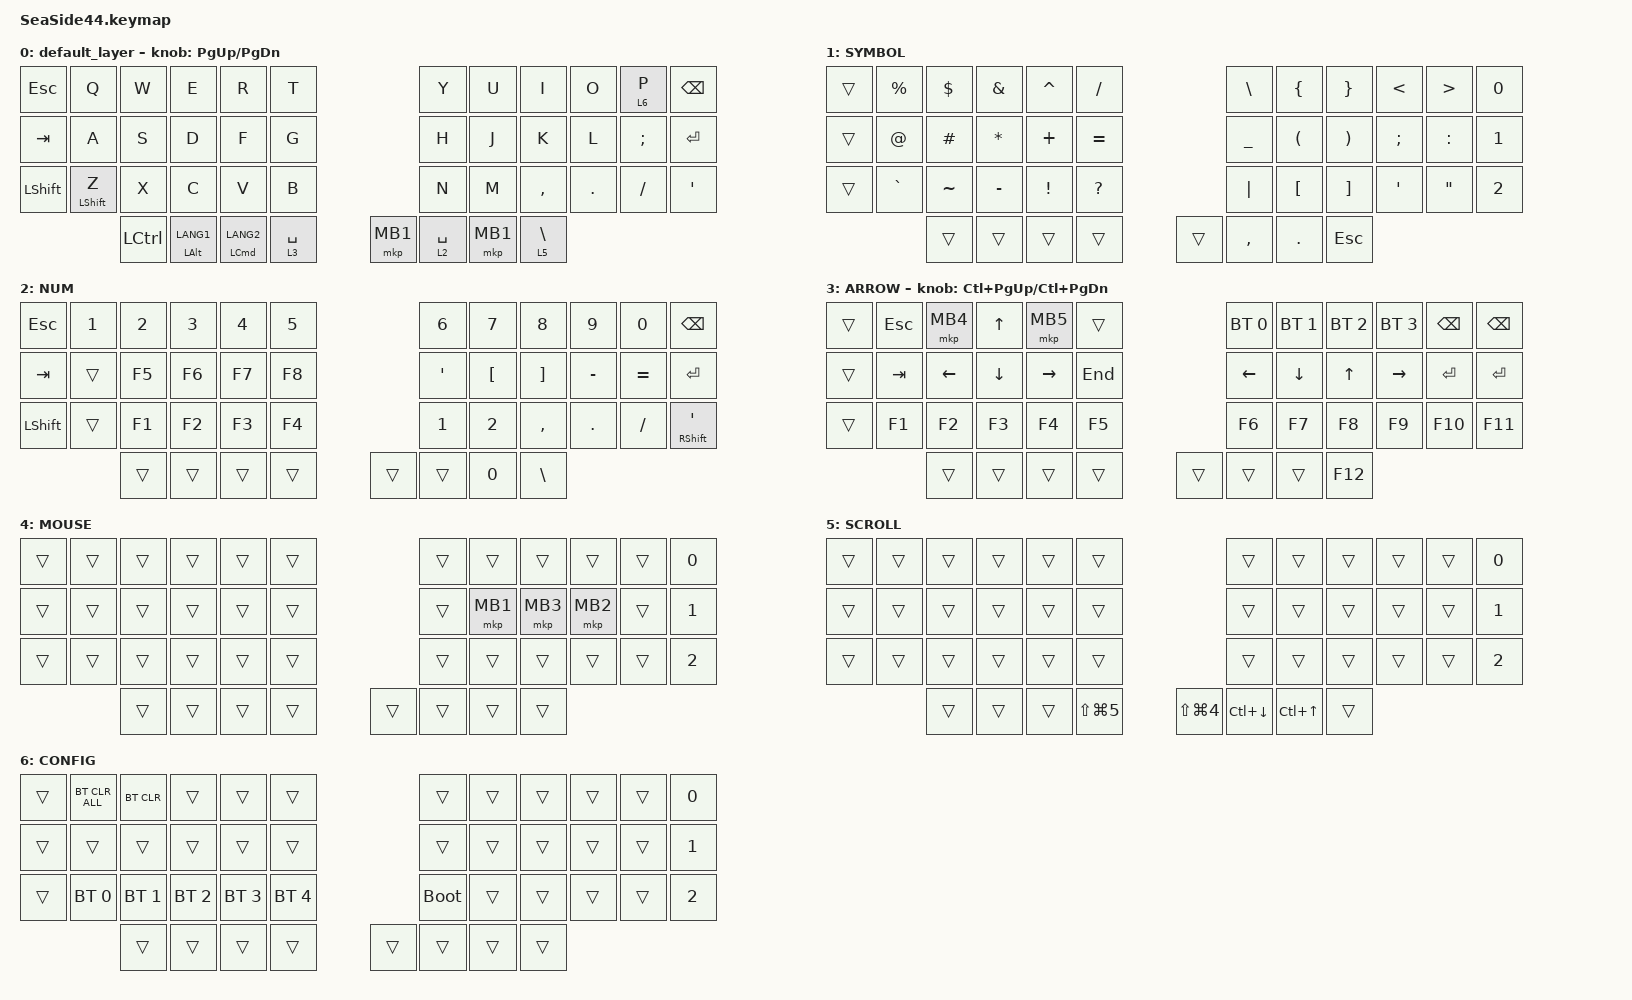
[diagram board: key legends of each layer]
#include <behaviors.dtsi>
#include <dt-bindings/zmk/bt.h>
#include <dt-bindings/zmk/keys.h>
#include <dt-bindings/zmk/pointing.h>

#define MOUSE 4
#define SCROLL 5
#define NUM 6

&mt {
    flavor = "balanced";
    quick-tap-ms = <300>;
};

&lt {
    flavor = "balanced";
    quick-tap-ms = <300>;
};

/ {
    combos { compatible = "zmk,combos"; };

    macros {
        to_layer_0: to_layer_0 {
            compatible = "zmk,behavior-macro-one-param";
            #binding-cells = <1>;
            bindings = <&to 0 &macro_param_1to1 &kp MACRO_PLACEHOLDER>;
            label = "TO_LAYER_0";
        };
    };

    behaviors {
        lt_to_layer_0: lt_to_layer_0 {
            compatible = "zmk,behavior-hold-tap";
            label = "LAYER_TAP_TO_0";
            bindings = <&mo>, <&to_layer_0>;

            #binding-cells = <2>;
            tapping-term-ms = <200>;
        };
    };

    keymap {
        compatible = "zmk,keymap";

        default_layer {
            bindings = <
&kp ESCAPE  &kp Q             &kp W      &kp E               &kp R                   &kp T                                 &kp Y     &kp U  &kp I            &kp O       &lt 6 P        &kp BACKSPACE
&kp TAB     &kp A             &kp S      &kp D               &kp F                   &kp G                                 &kp H     &kp J  &kp K            &kp L       &kp SEMICOLON  &kp ENTER
&kp LSHFT   &mt LEFT_SHIFT Z  &kp X      &kp C               &kp V                   &kp B                                 &kp N     &kp M  &kp COMMA        &kp PERIOD  &kp SLASH      &kp SQT
                              &kp LCTRL  &mt LEFT_ALT LANG1  &mt LEFT_COMMAND LANG2  &lt 3 SPACE  &mkp MB1    &lt 2 SPACE  &mkp MB1         &lt 5 BACKSLASH
            >;

            sensor-bindings = <&inc_dec_kp PG_UP PAGE_DOWN>;
        };

        SYMBOL {
            bindings = <
&trans  &kp PRCNT  &kp DOLLAR  &kp AMPERSAND  &kp CARET        &kp FSLH                           &kp BSLH        &kp LEFT_BRACE        &kp RIGHT_BRACE        &kp LESS_THAN  &kp GREATER_THAN   &kp N0
&trans  &kp AT     &kp HASH    &kp ASTERISK   &kp PLUS         &kp EQUAL                          &kp UNDERSCORE  &kp LEFT_PARENTHESIS  &kp RIGHT_PARENTHESIS  &kp SEMI       &kp COLON          &kp N1
&trans  &kp GRAVE  &kp TILDE   &kp MINUS      &kp EXCLAMATION  &kp QUESTION                       &kp PIPE        &kp LBKT              &kp RBKT               &kp SQT        &kp DOUBLE_QUOTES  &kp N2
                   &trans      &trans         &trans           &trans        &trans    &kp COMMA  &kp PERIOD                            &kp ESC
            >;
        };

        NUM {
            bindings = <
&kp ESCAPE      &kp NUMBER_1  &kp NUMBER_2  &kp NUMBER_3  &kp NUMBER_4  &kp N5                    &kp NUMBER_6  &kp N7            &kp N8             &kp N9      &kp N0     &kp BACKSPACE
&kp TAB         &trans        &kp F5        &kp F6        &kp F7        &kp F8                    &kp SQT       &kp LEFT_BRACKET  &kp RIGHT_BRACKET  &kp MINUS   &kp EQUAL  &kp RETURN
&kp LEFT_SHIFT  &trans        &kp F1        &kp F2        &kp F3        &kp F4                    &kp NUMBER_1  &kp NUMBER_2      &kp COMMA          &kp PERIOD  &kp SLASH  &mt RIGHT_SHIFT SQT
                              &trans        &trans        &trans        &trans  &trans    &trans  &kp NUMBER_0                    &kp BACKSLASH
            >;
        };

        ARROW {
            bindings = <
&trans  &kp ESCAPE  &mkp MB4        &kp UP_ARROW    &mkp MB5         &trans                     &bt BT_SEL 0  &bt BT_SEL 1  &bt BT_SEL 2  &bt BT_SEL 3     &kp BACKSPACE  &kp BACKSPACE
&trans  &kp TAB     &kp LEFT_ARROW  &kp DOWN_ARROW  &kp RIGHT_ARROW  &kp END                    &kp LEFT      &kp DOWN      &kp UP_ARROW  &kp RIGHT_ARROW  &kp RETURN     &kp RET
&trans  &kp F1      &kp F2          &kp F3          &kp F4           &kp F5                     &kp F6        &kp F7        &kp F8        &kp F9           &kp F10        &kp F11
                    &trans          &trans          &trans           &trans   &trans    &trans  &trans                      &kp F12
            >;

            sensor-bindings = <&inc_dec_kp LC(PAGE_UP) LC(PAGE_DOWN)>;
        };

        MOUSE {
            bindings = <
&trans  &trans  &trans  &trans  &trans  &trans                    &trans  &trans    &trans    &trans    &trans  &kp N0
&trans  &trans  &trans  &trans  &trans  &trans                    &trans  &mkp MB1  &mkp MB3  &mkp MB2  &trans  &kp N1
&trans  &trans  &trans  &trans  &trans  &trans                    &trans  &trans    &trans    &trans    &trans  &kp N2
                &trans  &trans  &trans  &trans  &trans    &trans  &trans            &trans
            >;
        };

        SCROLL {
            bindings = <
&trans  &trans  &trans  &trans  &trans  &trans                                          &trans            &trans  &trans  &trans  &trans  &kp N0
&trans  &trans  &trans  &trans  &trans  &trans                                          &trans            &trans  &trans  &trans  &trans  &kp N1
&trans  &trans  &trans  &trans  &trans  &trans                                          &trans            &trans  &trans  &trans  &trans  &kp N2
                &trans  &trans  &trans  &kp LS(LG(N5))  &kp LS(LG(N4))    &kp LC(DOWN)  &kp LC(UP_ARROW)          &trans
            >;
        };

        CONFIG {
            bindings = <
&trans  &bt BT_CLR_ALL  &bt BT_CLR    &trans        &trans        &trans                          &trans       &trans  &trans  &trans  &trans  &kp N0
&trans  &trans          &trans        &trans        &trans        &trans                          &trans       &trans  &trans  &trans  &trans  &kp N1
&trans  &bt BT_SEL 0    &bt BT_SEL 1  &bt BT_SEL 2  &bt BT_SEL 3  &bt BT_SEL 4                    &bootloader  &trans  &trans  &trans  &trans  &kp N2
                        &trans        &trans        &trans        &trans        &trans    &trans  &trans               &trans
            >;
        };
    };
};
